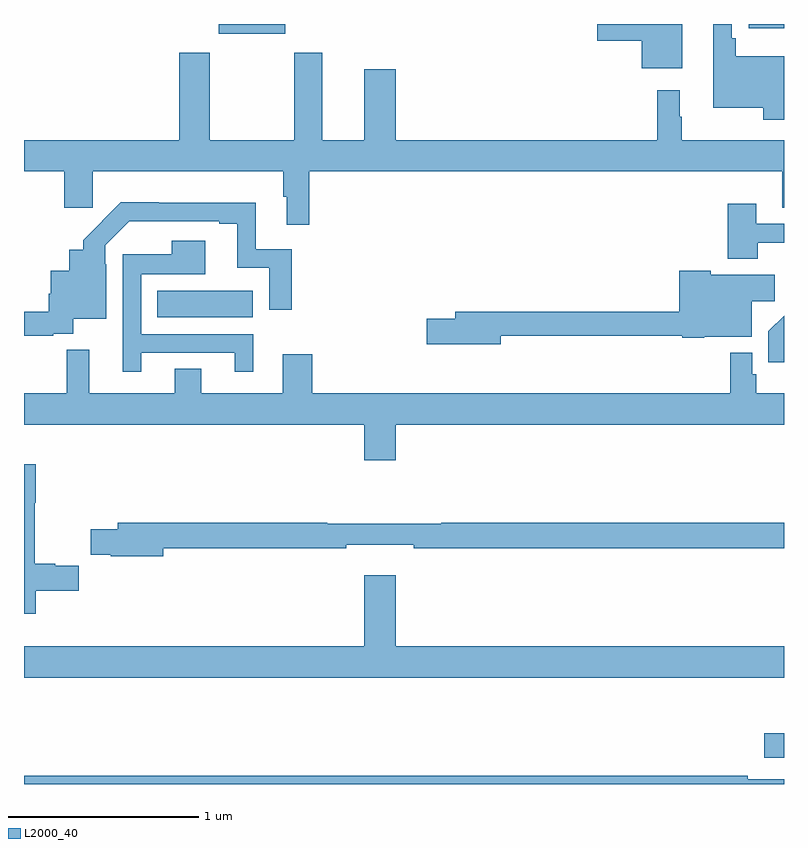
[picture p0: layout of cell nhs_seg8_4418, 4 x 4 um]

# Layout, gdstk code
import gdstk
lib = gdstk.Library(unit=1e-6, precision=1e-09)
def R(c, l, rs):  # rectangles x0, y0, x1, y1
    for r in rs: c.add(gdstk.rectangle(r[:2], r[2:], *l))
def P(c, l, *ps):  # polygons
    for p in ps: c.add(gdstk.Polygon(p, *l))
L2000_40 = (2000, 40)

nhs_seg8_4418 = lib.new_cell('nhs_seg8_4418')
R(nhs_seg8_4418, L2000_40, [(382.896,1156.037,383,1156.167), (379.702,1158.356,380.203,1158.496), (380.024,1159.85,380.374,1159.9), (382.814,1159.877,383,1159.9)])
P(nhs_seg8_4418, L2000_40, [(382.465,1159.9),(382.016,1159.9),(382.016,1159.811),(382.25,1159.811),(382.25,1159.667),(382.465,1159.667)],
  [(383,1159.729),(382.745,1159.729),(382.745,1159.825),(382.725,1159.825),(382.725,1159.9),(382.628,1159.9),(382.628,1159.46),(382.89,1159.46),(382.89,1159.395),(383,1159.395)],
  [(380.501,1159.124),(382.991,1159.124),(382.991,1158.934),(383,1158.934),(383,1159.288),(382.462,1159.288),(382.462,1159.412),(382.45,1159.412),(382.45,1159.552),(382.333,1159.552),(382.333,1159.288),(380.956,1159.288),(380.956,1159.663),(380.792,1159.663),(380.792,1159.288),(380.569,1159.288),(380.569,1159.75),(380.422,1159.75),(380.422,1159.288),(379.977,1159.288),(379.977,1159.75),(379.817,1159.75),(379.817,1159.288),(379,1159.288),(379,1159.124),(379.211,1159.124),(379.211,1158.933),(379.361,1158.933),(379.361,1159.124),(380.365,1159.124),(380.365,1158.992),(380.384,1158.992),(380.384,1158.843),(380.501,1158.843)],
  [(379.154,1158.27),(379.258,1158.27),(379.258,1158.35),(379.432,1158.35),(379.432,1158.635),(379.428,1158.635),(379.428,1158.735),(379.554,1158.861),(380.027,1158.861),(380.027,1158.849),(380.123,1158.849),(380.123,1158.618),(380.292,1158.618),(380.292,1158.396),(380.408,1158.396),(380.408,1158.714),(380.221,1158.714),(380.221,1158.958),(379.709,1158.958),(379.709,1158.961),(379.51,1158.961),(379.313,1158.763),(379.313,1158.712),(379.238,1158.712),(379.238,1158.601),(379.142,1158.601),(379.142,1158.48),(379.13,1158.48),(379.13,1158.386),(379,1158.386),(379,1158.258),(379.154,1158.258)],
  [(382.863,1158.75),(383,1158.75),(383,1158.849),(382.855,1158.849),(382.855,1158.955),(382.703,1158.955),(382.703,1158.665),(382.863,1158.665)],
  [(379.618,1158.171),(380.108,1158.171),(380.108,1158.069),(380.206,1158.069),(380.206,1158.267),(379.617,1158.267),(379.617,1158.584),(379.954,1158.584),(379.954,1158.76),(379.778,1158.76),(379.778,1158.688),(379.521,1158.688),(379.521,1158.069),(379.618,1158.069)],
  [(381.508,1158.258),(382.464,1158.258),(382.464,1158.25),(382.581,1158.25),(382.581,1158.254),(382.831,1158.254),(382.831,1158.442),(382.952,1158.442),(382.952,1158.58),(382.614,1158.58),(382.614,1158.601),(382.448,1158.601),(382.448,1158.386),(381.269,1158.386),(381.269,1158.35),(381.12,1158.35),(381.12,1158.215),(381.508,1158.215)],
  [(383,1158.364),(382.918,1158.282),(382.918,1158.12),(383,1158.12)],
  [(380.956,1157.792),(383,1157.792),(383,1157.956),(382.853,1157.956),(382.853,1158.057),(382.833,1158.057),(382.833,1158.169),(382.717,1158.169),(382.717,1157.956),(380.516,1157.956),(380.516,1158.163),(380.363,1158.163),(380.363,1157.956),(379.933,1157.956),(379.933,1158.086),(379.793,1158.086),(379.793,1157.956),(379.343,1157.956),(379.343,1158.185),(379.225,1158.185),(379.225,1157.956),(379,1157.956),(379,1157.792),(380.792,1157.792),(380.792,1157.604),(380.956,1157.604)],
  [(379.061,1156.918),(379.289,1156.918),(379.289,1157.048),(379.164,1157.048),(379.164,1157.06),(379.056,1157.06),(379.056,1157.38),(379.061,1157.38),(379.061,1157.583),(379,1157.583),(379,1156.796),(379.061,1156.796)],
  [(379.732,1157.14),(380.696,1157.14),(380.696,1157.159),(381.052,1157.159),(381.052,1157.14),(383,1157.14),(383,1157.276),(381.197,1157.276),(381.197,1157.269),(380.597,1157.269),(380.597,1157.276),(379.493,1157.276),(379.493,1157.24),(379.351,1157.24),(379.351,1157.106),(379.456,1157.106),(379.456,1157.098),(379.732,1157.098)],
  [(383,1156.624),(380.956,1156.624),(380.956,1156.999),(380.792,1156.999),(380.792,1156.624),(379,1156.624),(379,1156.46),(383,1156.46)],
  [(383,1155.924),(382.808,1155.924),(382.808,1155.944),(379,1155.944),(379,1155.9),(383,1155.9)])

lib.write_gds('nhs_seg8_4418.gds')
